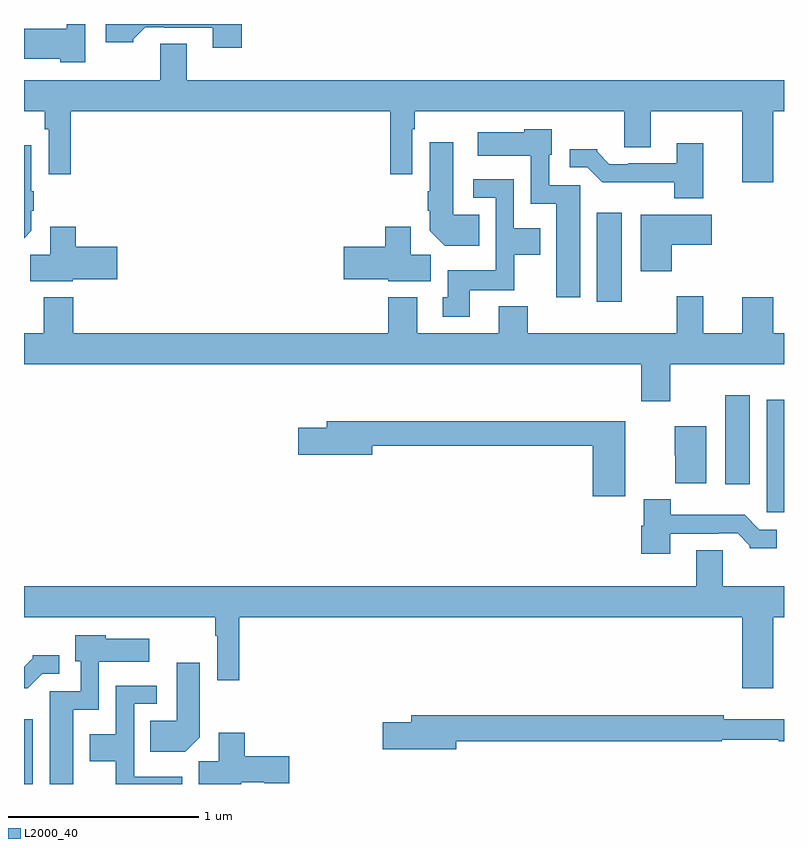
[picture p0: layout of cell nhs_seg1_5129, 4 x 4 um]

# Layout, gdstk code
import gdstk
lib = gdstk.Library(unit=1e-6, precision=1e-09)
def R(c, l, rs):  # rectangles x0, y0, x1, y1
    for r in rs: c.add(gdstk.rectangle(r[:2], r[2:], *l))
def P(c, l, *ps):  # polygons
    for p in ps: c.add(gdstk.Polygon(p, *l))
L2000_40 = (2000, 40)

nhs_seg1_5129 = lib.new_cell('nhs_seg1_5129')
R(nhs_seg1_5129, L2000_40, [(389,540.199,389.047,540.541), (392.909,541.629,393,542.221), (392.69,541.776,392.821,542.245), (392.015,542.736,392.146,543.205)])
P(nhs_seg1_5129, L2000_40, [(390.146,544.199),(389.43,544.199),(389.43,544.103),(389.574,544.103),(389.574,544.118),(389.638,544.182),(389.737,544.182),(389.737,544.179),(389.993,544.179),(389.993,544.074),(390.146,544.074)],
  [(389.322,544.199),(389.226,544.199),(389.226,544.174),(389,544.174),(389,544.016),(389.19,544.016),(389.19,543.998),(389.322,543.998)],
  [(392.944,543.74),(393,543.74),(393,543.904),(389.857,543.904),(389.857,544.094),(389.717,544.094),(389.717,543.904),(389,543.904),(389,543.74),(389.11,543.74),(389.11,543.644),(389.13,543.644),(389.13,543.408),(389.246,543.408),(389.246,543.74),(390.928,543.74),(390.928,543.408),(391.044,543.408),(391.044,543.644),(391.057,543.644),(391.057,543.74),(392.159,543.74),(392.159,543.55),(392.299,543.55),(392.299,543.74),(392.78,543.74),(392.78,543.366),(392.944,543.366)],
  [(391.927,543.351),(391.764,543.351),(391.764,543.51),(391.777,543.51),(391.777,543.646),(391.632,543.646),(391.632,543.628),(391.389,543.628),(391.389,543.506),(391.668,543.506),(391.668,543.254),(391.802,543.254),(391.802,542.76),(391.927,542.76)],
  [(391.397,543.196),(391.258,543.196),(391.258,543.577),(391.136,543.577),(391.136,543.32),(391.124,543.32),(391.124,543.217),(391.136,543.217),(391.136,543.11),(391.214,543.032),(391.397,543.032)],
  [(392.575,543.571),(392.435,543.571),(392.435,543.465),(392.179,543.465),(392.179,543.462),(392.08,543.462),(392.016,543.526),(392.016,543.541),(391.872,543.541),(391.872,543.444),(391.965,543.444),(392.044,543.366),(392.423,543.366),(392.423,543.281),(392.575,543.281)],
  [(389.038,543.11),(389.038,543.217),(389.051,543.217),(389.051,543.32),(389.038,543.32),(389.038,543.562),(389,543.562),(389,543.072)],
  [(391.345,542.798),(391.581,542.798),(391.581,542.984),(391.717,542.984),(391.717,543.124),(391.578,543.124),(391.578,543.381),(391.365,543.381),(391.365,543.285),(391.482,543.285),(391.482,542.902),(391.229,542.902),(391.229,542.76),(391.205,542.76),(391.205,542.658),(391.345,542.658)],
  [(392.41,543.038),(392.62,543.038),(392.62,543.196),(392.246,543.196),(392.246,542.898),(392.41,542.898)],
  [(389.256,542.855),(389.491,542.855),(389.491,543.026),(389.273,543.026),(389.273,543.133),(389.138,543.133),(389.138,542.984),(389.033,542.984),(389.033,542.846),(389.256,542.846)],
  [(391.141,542.984),(391.036,542.984),(391.036,543.133),(390.902,543.133),(390.902,543.026),(390.684,543.026),(390.684,542.855),(390.918,542.855),(390.918,542.846),(391.141,542.846)],
  [(391.499,542.713),(391.499,542.572),(391.069,542.572),(391.069,542.761),(390.917,542.761),(390.917,542.572),(389.258,542.572),(389.258,542.761),(389.105,542.761),(389.105,542.572),(389,542.572),(389,542.408),(392.249,542.408),(392.249,542.214),(392.401,542.214),(392.401,542.408),(393,542.408),(393,542.572),(392.944,542.572),(392.944,542.761),(392.78,542.761),(392.78,542.572),(392.575,542.572),(392.575,542.767),(392.435,542.767),(392.435,542.572),(391.652,542.572),(391.652,542.713)],
  [(392.164,542.107),(390.593,542.107),(390.593,542.073),(390.444,542.073),(390.444,541.931),(390.832,541.931),(390.832,541.978),(391.994,541.978),(391.994,541.713),(392.164,541.713)],
  [(392.59,542.083),(392.426,542.083),(392.426,541.929),(392.428,541.929),(392.428,541.781),(392.59,541.781)],
  [(392.401,541.515),(392.657,541.515),(392.657,541.518),(392.756,541.518),(392.82,541.454),(392.82,541.439),(392.962,541.439),(392.962,541.536),(392.871,541.536),(392.793,541.615),(392.404,541.615),(392.404,541.699),(392.261,541.699),(392.261,541.557),(392.249,541.557),(392.249,541.41),(392.401,541.41)],
  [(392.944,541.076),(393,541.076),(393,541.24),(392.677,541.24),(392.677,541.43),(392.537,541.43),(392.537,541.24),(389,541.24),(389,541.076),(390.006,541.076),(390.006,540.98),(390.018,540.98),(390.018,540.744),(390.134,540.744),(390.134,541.076),(392.78,541.076),(392.78,540.702),(392.944,540.702)],
  [(389.26,540.59),(389.394,540.59),(389.394,540.842),(389.659,540.842),(389.659,540.964),(389.43,540.964),(389.43,540.982),(389.27,540.982),(389.27,540.846),(389.298,540.846),(389.298,540.687),(389.135,540.687),(389.135,540.199),(389.26,540.199)],
  [(389.097,540.78),(389.185,540.78),(389.185,540.877),(389.046,540.877),(389.046,540.862),(389,540.816),(389,540.702),(389.019,540.702)],
  [(389.926,540.446),(389.926,540.838),(389.804,540.838),(389.804,540.532),(389.665,540.532),(389.665,540.368),(389.848,540.368)],
  [(389.833,540.238),(389.58,540.238),(389.58,540.621),(389.698,540.621),(389.698,540.717),(389.484,540.717),(389.484,540.46),(389.345,540.46),(389.345,540.32),(389.482,540.32),(389.482,540.199),(389.833,540.199)],
  [(391.276,540.424),(392.672,540.424),(392.672,540.432),(392.972,540.432),(392.972,540.424),(393,540.424),(393,540.541),(392.684,540.541),(392.684,540.56),(391.037,540.56),(391.037,540.524),(390.888,540.524),(390.888,540.382),(391.276,540.382)],
  [(390.144,540.209),(390.264,540.209),(390.264,540.202),(390.397,540.202),(390.397,540.344),(390.161,540.344),(390.161,540.469),(390.026,540.469),(390.026,540.32),(389.921,540.32),(389.921,540.199),(390.144,540.199)])

lib.write_gds('nhs_seg1_5129.gds')
